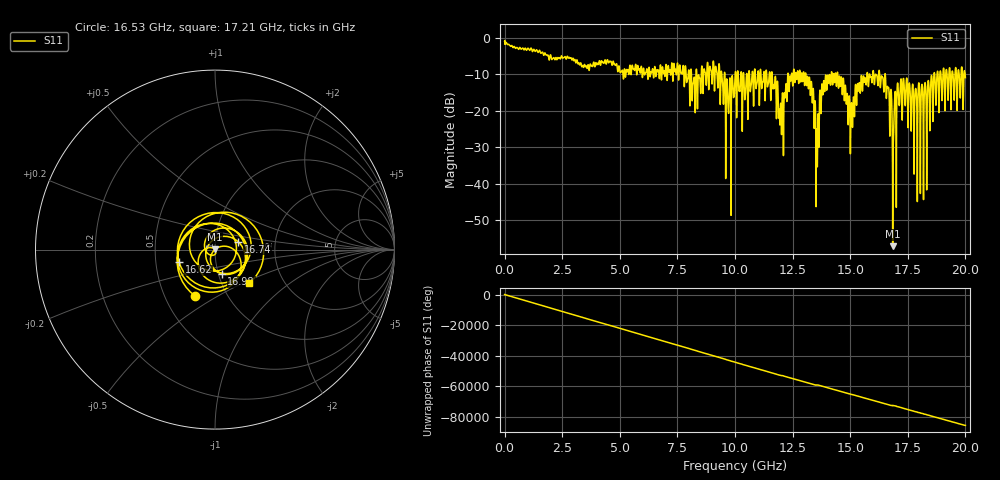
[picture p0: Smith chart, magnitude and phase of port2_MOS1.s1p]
! MS46122B
! 2250307/22442219
! 6/13/2025 8:43:41 AM
! C:\USERS\SPARKY\DOCUMENTS\VNA_DATA\JUNE13_2025\PORT2_MOS1.S1P
! CHANNEL.1
! TR.MEASUREMENT
! RAW.DATA
# GHZ S RI R 50.0
! FREQ.GHZ  S11RE  S11IM
!; PortSelection: Port_1
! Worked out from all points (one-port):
!   10001 points, 1 MHz to 20 GHz, reference 50 ohm
!   lowest |S11| = -57.2 dB at 16.84 GHz (marker M1), VSWR 1.00, Z = 49.9 + j0.102 ohm
!   |S11| at or under -10 dB: 13.07 GHz to 14.18 GHz (1.101 GHz wide, 8.08 % of centre); 14.46 GHz to 15.73 GHz (1.267 GHz wide, 8.39 % of centre); 16.52 GHz to 18.64 GHz (2.114 GHz wide, 12 % of centre) (the widest 3 of 77)
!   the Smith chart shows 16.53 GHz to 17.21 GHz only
!   S11 on the Smith chart (normalised r, x): 16.53 GHz: 0.71, -0.40; 16.62 GHz: 0.66, -0.10; 16.74 GHz: 1.29, +0.12; 16.98 GHz: 1.04, -0.29; 17.21 GHz: 1.34, -0.54
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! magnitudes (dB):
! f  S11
! 1 MHz  -1.0
! 2.501 GHz  -5.3
! 5.001 GHz  -9.1
! 7.501 GHz  -6.9
! 9.237 GHz  -11.2
! 9.757 GHz  -13.2
! 10 GHz  -10.8
! 11.43 GHz  -12.8
! 12.02 GHz  -26.5
! 12.5 GHz  -12.8
! 13.23 GHz  -10.9
! 13.55 GHz  -25.9
! 13.77 GHz  -12.9
! 14.11 GHz  -10.1
! 14.62 GHz  -11.1
! 15 GHz  -26.7
! 15.66 GHz  -11.1
! 16.53 GHz  -11.0
! 16.62 GHz  -13.5
! 16.74 GHz  -17.3
! 16.84 GHz  -57.2
! 16.92 GHz  -18.0
! 16.98 GHz  -17.1
! 17.21 GHz  -11.5
! 17.5 GHz  -21.0
! 18.11 GHz  -12.8
! 18.72 GHz  -18.5
! 20 GHz  -10.9
